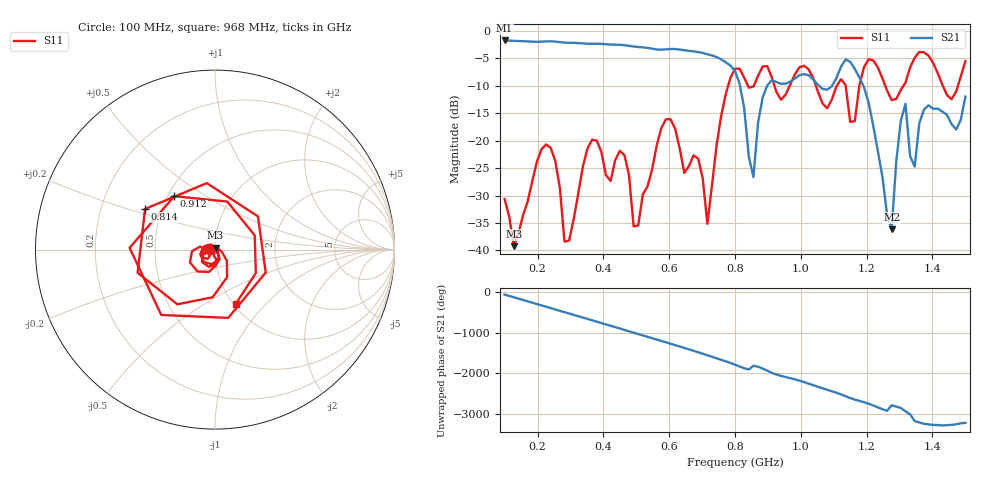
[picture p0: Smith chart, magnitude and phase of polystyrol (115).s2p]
! NanoVNA-App
! Date: 2025-09-26 09:42:46
! Start: 100MHz Stop: 1,5GHz Points: 101
! S-Parameter data: F S11 S21 S12 S22
# Hz S RI R 50
!  Frequency  S11_Real  S11_Imag  S21_Real  S21_Imag  S12_Real  S12_Imag  S22_Real  S22_Imag
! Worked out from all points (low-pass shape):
!   101 points, 100 MHz to 1.5 GHz, reference 50 ohm
!   highest |S21| = -1.79 dB at 100 MHz (marker M1); lowest = -36.2 dB at 1.276 GHz (marker M2)
!   |S21| within 3 dB of the highest: start of sweep to 743.2 MHz
!   lowest |S11| = -39.2 dB at 128 MHz (marker M3), VSWR 1.02, Z = 50.3 + j1.06 ohm
!   |S11| at or under -10 dB: start of sweep to 779.3 MHz; 1.046 GHz to 1.11 GHz (64.08 MHz wide, 5.95 % of centre); 1.256 GHz to 1.312 GHz (55.86 MHz wide, 4.35 % of centre) (the widest 3 of 7)
!   S12 and S22 are empty: the file has one direction only
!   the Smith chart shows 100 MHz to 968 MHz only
!   S11 on the Smith chart (normalised r, x): 100 MHz: 0.94, -0.01; 814 MHz: 0.40, +0.23; 912 MHz: 0.54, +0.37; 968 MHz: 1.02, -0.69
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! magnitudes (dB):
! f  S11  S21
! 100 MHz  -30.7  -1.8
! 128 MHz  -39.2  -1.9
! 212 MHz  -21.6  -2.0
! 282 MHz  -38.4  -2.2
! 338 MHz  -24.7  -2.3
! 464 MHz  -22.6  -2.7
! 506 MHz  -35.4  -3.0
! 576 MHz  -17.8  -3.5
! 688 MHz  -23.3  -3.9
! 716 MHz  -35.2  -4.3
! 800 MHz  -6.9  -7.4
! 814 MHz  -6.9  -9.6
! 856 MHz  -10.2  -26.6
! 912 MHz  -8.5  -9.0
! 968 MHz  -9.8  -9.3
! 1.038 GHz  -8.7  -8.9
! 1.178 GHz  -9.9  -8.5
! 1.276 GHz  -12.6  -36.2
! 1.318 GHz  -9.5  -13.3
! 1.346 GHz  -4.9  -24.7
! 1.374 GHz  -3.9  -14.4
! 1.5 GHz  -5.6  -12.0
